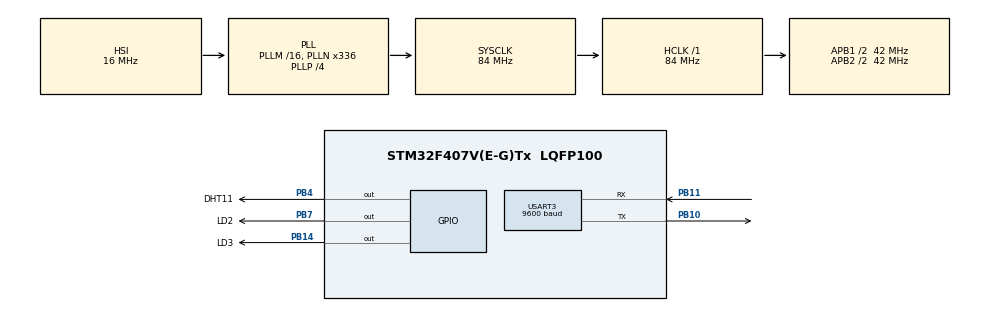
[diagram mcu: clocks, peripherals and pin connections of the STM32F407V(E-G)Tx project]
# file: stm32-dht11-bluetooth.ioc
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Mcu.Family=STM32F4
Mcu.Name=STM32F407V(E-G)Tx
Mcu.Package=LQFP100
NVIC.PriorityGroup=NVIC_PRIORITYGROUP_4
PB10.Mode=Asynchronous
PB10.Signal=USART3_TX
PB11.Mode=Asynchronous
PB11.Signal=USART3_RX
PB14.GPIO_Label=LD3
PB14.Signal=GPIO_Output
PB4.GPIO_Label=DHT11
PB4.Signal=GPIO_Output
PB7.GPIO_Label=LD2
PB7.Signal=GPIO_Output
ProjectManager.HeapSize=0x200
ProjectManager.StackSize=0x400
ProjectManager.TargetToolchain=STM32CubeIDE
RCC.48MHZClocksFreq_Value=84000000
RCC.AHBFreq_Value=84000000
RCC.APB1CLKDivider=RCC_HCLK_DIV2
RCC.APB1Freq_Value=42000000
RCC.APB1TimFreq_Value=84000000
RCC.APB2CLKDivider=RCC_HCLK_DIV2
RCC.APB2Freq_Value=42000000
RCC.APB2TimFreq_Value=84000000
RCC.CortexFreq_Value=84000000
RCC.HCLKFreq_Value=84000000
RCC.HSE_VALUE=25000000
RCC.HSI_VALUE=16000000
RCC.LSE_VALUE=32768
RCC.PLLN=336
RCC.PLLP=RCC_PLLP_DIV4
RCC.SYSCLKFreq_VALUE=84000000
RCC.SYSCLKSource=RCC_SYSCLKSOURCE_PLLCLK
RCC.VCOOutputFreq_Value=336000000
TIM6.Prescaler=84
USART3.BaudRate=9600
USART3.VirtualMode=VM_ASYNC
VP_TIM6_VS_ClockSourceINT.Mode=Enable_Timer
board=custom

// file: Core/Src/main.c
/* USER CODE BEGIN Header */
/**
  ******************************************************************************
  * @file           : main.c
  * @brief          : Main program body
  * @author         : M. Eyub Can, TECH-OHM (https://tech-ohm.com)
  ******************************************************************************
  * @attention
  *
  * Copyright (c) 2024 STMicroelectronics.
  * All rights reserved.
  *
  * This software is licensed under terms that can be found in the LICENSE file
  * in the root directory of this software component.
  * If no LICENSE file comes with this software, it is provided AS-IS.
  *
  ******************************************************************************
  */
/* USER CODE END Header */
#include "main.h"

TIM_HandleTypeDef htim6;

UART_HandleTypeDef huart3;

/* USER CODE BEGIN PV */
uint8_t dhtVal[2];      /* [0] temperature (C), [1] humidity (%) */
char    sendData[32];
/* USER CODE END PV */

void SystemClock_Config(void);
static void MX_GPIO_Init(void);
static void MX_TIM6_Init(void);
static void MX_USART3_UART_Init(void);

/* USER CODE BEGIN 0 */
#define DHT_TIMEOUT_US   500U   /* if the line does not change within this time, there is no sensor */
#define DHT_BIT_SPLIT_US 45U    /* 26-28 us is a "0", about 70 us is a "1" */

typedef enum { DHT_PIN_INPUT = 0, DHT_PIN_OUTPUT } dht_pin_mode_t;

/* DHT11 uses a single wire, so the pin switches between input and output */
static void dht_set_pin_mode(dht_pin_mode_t mode)
{
  GPIO_InitTypeDef GPIO_InitStruct = {0};

  GPIO_InitStruct.Pin   = DHT11_Pin;
  GPIO_InitStruct.Mode  = (mode == DHT_PIN_OUTPUT) ? GPIO_MODE_OUTPUT_PP : GPIO_MODE_INPUT;
  GPIO_InitStruct.Pull  = GPIO_NOPULL;
  GPIO_InitStruct.Speed = GPIO_SPEED_FREQ_HIGH;
  HAL_GPIO_Init(DHT11_GPIO_Port, &GPIO_InitStruct);
}

/* Waits while the line stays at the given level and returns the elapsed time
 * in microseconds. Returns 0 on timeout. TIM6 counts at 1 MHz. */
static uint16_t dht_wait_while(GPIO_PinState level)
{
  __HAL_TIM_SET_COUNTER(&htim6, 0);
  while (HAL_GPIO_ReadPin(DHT11_GPIO_Port, DHT11_Pin) == level) {
    if ((uint16_t)__HAL_TIM_GET_COUNTER(&htim6) > DHT_TIMEOUT_US) return 0;
  }
  uint16_t us = (uint16_t)__HAL_TIM_GET_COUNTER(&htim6);
  return us ? us : 1U;
}

/* Reads 40 bits. Returns 1 on success, pData[0] temperature, pData[1] humidity. */
uint8_t readDHT11(uint8_t *pData)
{
  uint8_t bytes[5] = {0};

  /* Start: hold the line low for at least 18 ms, then release it */
  dht_set_pin_mode(DHT_PIN_OUTPUT);
  HAL_GPIO_WritePin(DHT11_GPIO_Port, DHT11_Pin, GPIO_PIN_RESET);
  HAL_Delay(20);
  dht_set_pin_mode(DHT_PIN_INPUT);

  /* Sensor response: a short high, then 80 us low and 80 us high */
  if (!dht_wait_while(GPIO_PIN_SET))   return 0;
  if (!dht_wait_while(GPIO_PIN_RESET)) return 0;
  if (!dht_wait_while(GPIO_PIN_SET))   return 0;

  HAL_GPIO_WritePin(LD2_GPIO_Port, LD2_Pin, GPIO_PIN_SET);

  /* Every bit starts with 50 us low. The length of the high that follows is the bit value. */
  for (int i = 0; i < 40; i++) {
    if (!dht_wait_while(GPIO_PIN_RESET)) return 0;
    uint16_t high_us = dht_wait_while(GPIO_PIN_SET);
    if (!high_us) return 0;

    bytes[i / 8] <<= 1;
    if (high_us > DHT_BIT_SPLIT_US) bytes[i / 8] |= 1U;
  }

  HAL_GPIO_WritePin(LD2_GPIO_Port, LD2_Pin, GPIO_PIN_RESET);

  /* The fifth byte must be the sum of the first four */
  if ((uint8_t)(bytes[0] + bytes[1] + bytes[2] + bytes[3]) != bytes[4]) return 0;

  pData[0] = bytes[2];   /* temperature, integer part */
  pData[1] = bytes[0];   /* humidity, integer part */
  return 1;
}
/* USER CODE END 0 */

int main(void)
{

  /* MCU Configuration--------------------------------------------------------*/

  /* Reset of all peripherals, Initializes the Flash interface and the Systick. */
  HAL_Init();

  /* Configure the system clock */
  SystemClock_Config();

  /* Initialize all configured peripherals */
  MX_GPIO_Init();
  MX_TIM6_Init();
  MX_USART3_UART_Init();
  /* USER CODE BEGIN 2 */
  /* TIM6 clock is 84 MHz. Prescaler 83 makes the counter exactly 1 MHz (1 tick = 1 us) */
  __HAL_TIM_SET_PRESCALER(&htim6, 83);
  htim6.Instance->EGR = TIM_EGR_UG;
  HAL_TIM_Base_Start(&htim6);
  /* USER CODE END 2 */

  /* Infinite loop */
  while (1)
  {

    /* USER CODE BEGIN 3 */
    HAL_GPIO_TogglePin(LD3_GPIO_Port, LD3_Pin);

    if (readDHT11(dhtVal) == 1)
    {
      /* The phone app expects "humidity|temperature" */
      uint16_t len = (uint16_t)sprintf(sendData, "%d|%d\n\r", dhtVal[1], dhtVal[0]);
      HAL_UART_Transmit(&huart3, (uint8_t *)sendData, len, 100);
    }
    else
    {
      uint16_t len = (uint16_t)sprintf(sendData, "DHT Read Error!!\n\r");
      HAL_UART_Transmit(&huart3, (uint8_t *)sendData, len, 100);
    }

    /* DHT11 cannot be read more than once a second */
    HAL_Delay(1000);
  }
  /* USER CODE END 3 */
}

void SystemClock_Config(void)
{
  RCC_OscInitTypeDef RCC_OscInitStruct = {0};
  RCC_ClkInitTypeDef RCC_ClkInitStruct = {0};

  /** Configure the main internal regulator output voltage
  */
  __HAL_RCC_PWR_CLK_ENABLE();
  __HAL_PWR_VOLTAGESCALING_CONFIG(PWR_REGULATOR_VOLTAGE_SCALE1);

  /** Initializes the RCC Oscillators according to the specified parameters
  * in the RCC_OscInitTypeDef structure.
  */
  RCC_OscInitStruct.OscillatorType = RCC_OSCILLATORTYPE_HSI;
  RCC_OscInitStruct.HSIState = RCC_HSI_ON;
  RCC_OscInitStruct.HSICalibrationValue = RCC_HSICALIBRATION_DEFAULT;
  RCC_OscInitStruct.PLL.PLLState = RCC_PLL_ON;
  RCC_OscInitStruct.PLL.PLLSource = RCC_PLLSOURCE_HSI;
  RCC_OscInitStruct.PLL.PLLM = 16;
  RCC_OscInitStruct.PLL.PLLN = 336;
  RCC_OscInitStruct.PLL.PLLP = RCC_PLLP_DIV4;
  RCC_OscInitStruct.PLL.PLLQ = 4;
  if (HAL_RCC_OscConfig(&RCC_OscInitStruct) != HAL_OK)
  {
    Error_Handler();
  }

  /** Initializes the CPU, AHB and APB buses clocks
  */
  RCC_ClkInitStruct.ClockType = RCC_CLOCKTYPE_HCLK|RCC_CLOCKTYPE_SYSCLK
                              |RCC_CLOCKTYPE_PCLK1|RCC_CLOCKTYPE_PCLK2;
  RCC_ClkInitStruct.SYSCLKSource = RCC_SYSCLKSOURCE_PLLCLK;
  RCC_ClkInitStruct.AHBCLKDivider = RCC_SYSCLK_DIV1;
  RCC_ClkInitStruct.APB1CLKDivider = RCC_HCLK_DIV2;
  RCC_ClkInitStruct.APB2CLKDivider = RCC_HCLK_DIV2;

  if (HAL_RCC_ClockConfig(&RCC_ClkInitStruct, FLASH_LATENCY_2) != HAL_OK)
  {
    Error_Handler();
  }
}

static void MX_TIM6_Init(void)
{

  TIM_MasterConfigTypeDef sMasterConfig = {0};

  htim6.Instance = TIM6;
  htim6.Init.Prescaler = 84;
  htim6.Init.CounterMode = TIM_COUNTERMODE_UP;
  htim6.Init.Period = 65535;
  htim6.Init.AutoReloadPreload = TIM_AUTORELOAD_PRELOAD_DISABLE;
  if (HAL_TIM_Base_Init(&htim6) != HAL_OK)
  {
    Error_Handler();
  }
  sMasterConfig.MasterOutputTrigger = TIM_TRGO_RESET;
  sMasterConfig.MasterSlaveMode = TIM_MASTERSLAVEMODE_DISABLE;
  if (HAL_TIMEx_MasterConfigSynchronization(&htim6, &sMasterConfig) != HAL_OK)
  {
    Error_Handler();
  }

}

static void MX_USART3_UART_Init(void)
{

  huart3.Instance = USART3;
  huart3.Init.BaudRate = 9600;
  huart3.Init.WordLength = UART_WORDLENGTH_8B;
  huart3.Init.StopBits = UART_STOPBITS_1;
  huart3.Init.Parity = UART_PARITY_NONE;
  huart3.Init.Mode = UART_MODE_TX_RX;
  huart3.Init.HwFlowCtl = UART_HWCONTROL_NONE;
  huart3.Init.OverSampling = UART_OVERSAMPLING_16;
  if (HAL_UART_Init(&huart3) != HAL_OK)
  {
    Error_Handler();
  }

}

static void MX_GPIO_Init(void)
{
  GPIO_InitTypeDef GPIO_InitStruct = {0};

  /* GPIO Ports Clock Enable */
  __HAL_RCC_GPIOB_CLK_ENABLE();

  /*Configure GPIO pin Output Level */
  HAL_GPIO_WritePin(GPIOB, LD3_Pin|DHT11_Pin|LD2_Pin, GPIO_PIN_RESET);

  /*Configure GPIO pins : LD3_Pin DHT11_Pin LD2_Pin */
  GPIO_InitStruct.Pin = LD3_Pin|DHT11_Pin|LD2_Pin;
  GPIO_InitStruct.Mode = GPIO_MODE_OUTPUT_PP;
  GPIO_InitStruct.Pull = GPIO_NOPULL;
  GPIO_InitStruct.Speed = GPIO_SPEED_FREQ_LOW;
  HAL_GPIO_Init(GPIOB, &GPIO_InitStruct);

}

void Error_Handler(void)
{
  __disable_irq();
  while (1)
  {
  }
}
